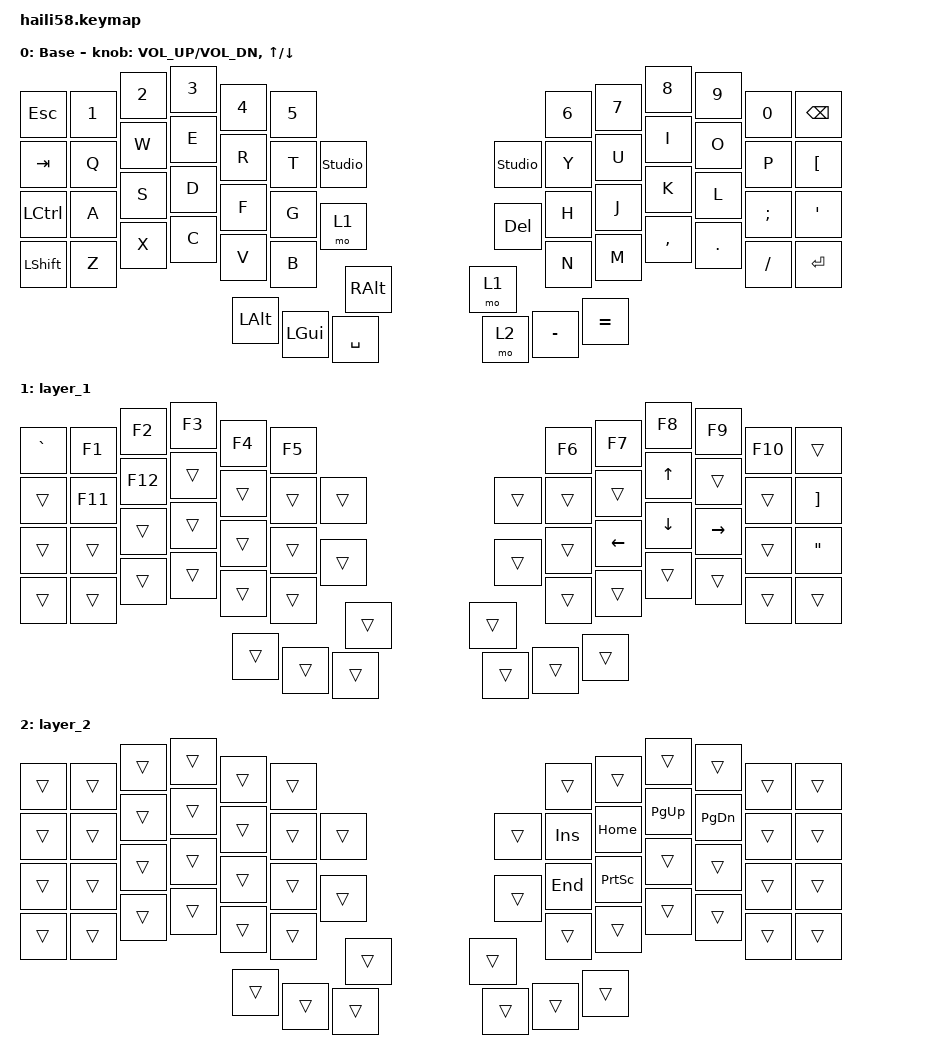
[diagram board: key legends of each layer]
#include <behaviors.dtsi>
#include <dt-bindings/zmk/keys.h>

/ {
    keymap {
        compatible = "zmk,keymap";

        default_layer {
            display-name = "Base";
            bindings = <
&kp ESC           &kp NUMBER_1  &kp NUMBER_2  &kp NUMBER_3   &kp NUMBER_4  &kp NUMBER_5        &kp NUMBER_6    &kp N7      &kp N8     &kp N9   &kp N0     &kp BACKSPACE
&kp TAB           &kp Q         &kp W         &kp E          &kp R         &kp T               &kp Y           &kp U       &kp I      &kp O    &kp P      &kp LBKT
&kp LEFT_CONTROL  &kp A         &kp S         &kp D          &kp F         &kp G               &kp H           &kp J       &kp K      &kp L    &kp SEMI   &kp APOS
&kp LEFT_SHIFT    &kp Z         &kp X         &kp C          &kp V         &kp B               &kp N           &kp M       &kp COMMA  &kp DOT  &kp FSLH   &kp ENTER
&kp LEFT_ALT      &kp LEFT_GUI  &kp SPACE     &kp RIGHT_ALT  &mo 1         &studio_unlock      &studio_unlock  &kp DELETE  &mo 1      &mo 2    &kp MINUS  &kp EQUAL
            >;

            sensor-bindings = <&inc_dec_kp C_VOL_UP C_VOL_DN &inc_dec_kp UP DOWN>;
        };

        layer_1 {
            bindings = <
&kp GRAVE  &kp F1   &kp F2   &kp F3  &kp F4  &kp F5      &kp F6  &kp F7    &kp F8    &kp F9     &kp F10  &trans
&trans     &kp F11  &kp F12  &trans  &trans  &trans      &trans  &trans    &kp UP    &trans     &trans   &kp RBKT
&trans     &trans   &trans   &trans  &trans  &trans      &trans  &kp LEFT  &kp DOWN  &kp RIGHT  &trans   &kp DOUBLE_QUOTES
&trans     &trans   &trans   &trans  &trans  &trans      &trans  &trans    &trans    &trans     &trans   &trans
&trans     &trans   &trans   &trans  &trans  &trans      &trans  &trans    &trans    &trans     &trans   &trans
            >;
        };

        layer_2 {
            bindings = <
&trans  &trans  &trans  &trans  &trans  &trans      &trans   &trans           &trans       &trans         &trans  &trans
&trans  &trans  &trans  &trans  &trans  &trans      &kp INS  &kp HOME         &kp PAGE_UP  &kp PAGE_DOWN  &trans  &trans
&trans  &trans  &trans  &trans  &trans  &trans      &kp END  &kp PRINTSCREEN  &trans       &trans         &trans  &trans
&trans  &trans  &trans  &trans  &trans  &trans      &trans   &trans           &trans       &trans         &trans  &trans
&trans  &trans  &trans  &trans  &trans  &trans      &trans   &trans           &trans       &trans         &trans  &trans
            >;
        };
    };
};
